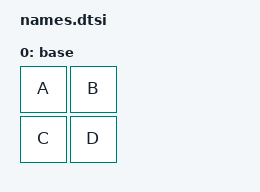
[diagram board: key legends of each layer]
/*
 * Copyright (c) 2026 amgskobo
 * SPDX-License-Identifier: MIT
 *
 * The settings-name budget. A stored name is "custom_settings/amgskobo__rip/"
 * and then "<node>.<field>" in 64 bytes, so a node and its processor's longest
 * field may use 32 characters between them. These nodes sit exactly there and
 * have to build; each case includes them before the nodes it breaks.
 *
 *   scaler      multiplier     22   scale_ok_0123456789abc
 *   transform   x_invert       24   xform_ok_0123456789abcde
 *   mapper      enabled        25   map_ok_0123456789abcdefgh
 *   temp layer  prior_idle_ms  19   layer_ok_0123456789
 */

#include <behaviors.dtsi>
#include <physical_layouts.dtsi>
#include <dt-bindings/zmk/keys.h>
#include <dt-bindings/zmk/matrix_transform.h>
#include <zephyr/dt-bindings/input/input-event-codes.h>

/ {
    physical_layout {
        compatible = "zmk,physical-layout";
        display-name = "Test";
        transform = <&transform>;
        keys = <&key_physical_attrs 100 100 0 0 0 0 0>,
               <&key_physical_attrs 100 100 100 0 0 0 0>,
               <&key_physical_attrs 100 100 0 100 0 0 0>,
               <&key_physical_attrs 100 100 100 100 0 0 0>;
    };

    transform: transform {
        compatible = "zmk,matrix-transform";
        rows = <2>;
        columns = <2>;
        map = <RC(0,0) RC(0,1) RC(1,0) RC(1,1)>;
    };

    keymap {
        compatible = "zmk,keymap";

        base {
            bindings = <&kp A &kp B &kp C &kp D>;
        };
    };

    scale_ok_0123456789abc {
        compatible = "zmk,input-processor-runtime-scaler";
        #input-processor-cells = <0>;
        codes = <INPUT_REL_X>;
        multiplier = <1>;
        divisor = <1>;
    };

    xform_ok_0123456789abcde {
        compatible = "zmk,input-processor-runtime-transform";
        #input-processor-cells = <0>;
        x-codes = <INPUT_REL_X>;
        y-codes = <INPUT_REL_Y>;
    };

    map_ok_0123456789abcdefgh {
        compatible = "zmk,input-processor-runtime-code-mapper";
        #input-processor-cells = <0>;
        map = <INPUT_REL_Y INPUT_REL_WHEEL>;
    };

    layer_ok_0123456789 {
        compatible = "zmk,input-processor-runtime-temp-layer";
        #input-processor-cells = <0>;
        layer = <0>;
        timeout-ms = <1>;
    };
};

&kscan {
    events = <>;
};
